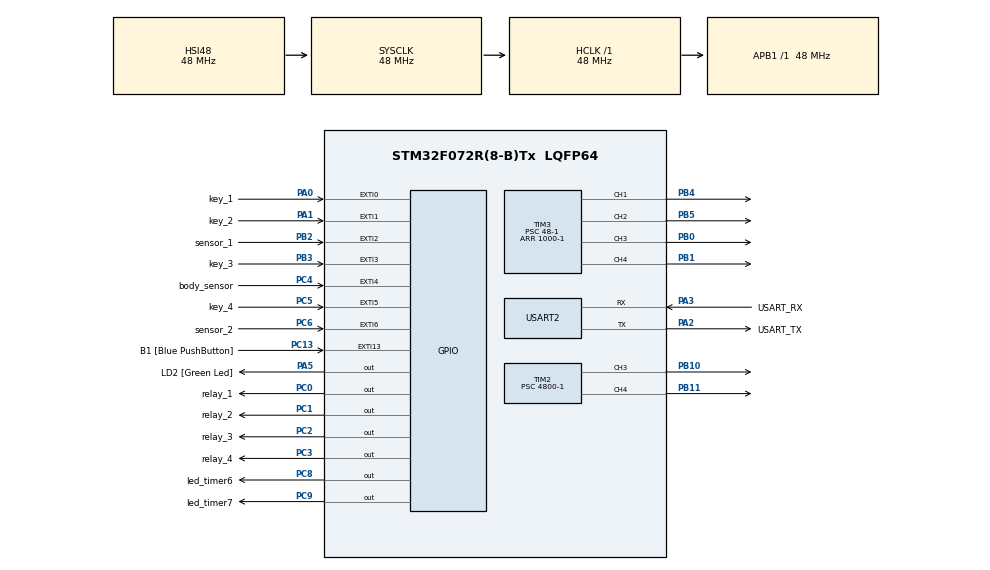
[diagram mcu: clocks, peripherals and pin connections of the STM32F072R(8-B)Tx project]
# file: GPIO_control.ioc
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Mcu.Family=STM32F0
Mcu.Name=STM32F072R(8-B)Tx
Mcu.Package=LQFP64
NVIC.EXTI0_1_IRQn=true\:3\:0\:true\:false\:true\:true\:false\:true
NVIC.EXTI2_3_IRQn=true\:3\:0\:true\:false\:true\:true\:false\:true
NVIC.EXTI4_15_IRQn=true\:3\:0\:true\:false\:true\:true\:false\:true
NVIC.TIM6_DAC_IRQn=true\:1\:0\:true\:false\:true\:true\:false\:true
NVIC.TIM7_IRQn=true\:2\:0\:true\:false\:true\:true\:false\:true
PA0.GPIO_Label=key_1
PA0.Signal=GPXTI0
PA1.GPIO_Label=key_2
PA1.Signal=GPXTI1
PA13.GPIO_Label=TMS
PA13.Mode=Serial_Wire
PA13.Signal=SYS_SWDIO
PA14.GPIO_Label=TCK
PA14.Mode=Serial_Wire
PA14.Signal=SYS_SWCLK
PA2.GPIO_Label=USART_TX
PA2.GPIO_Mode=GPIO_MODE_AF_PP
PA2.GPIO_PuPd=GPIO_NOPULL
PA2.GPIO_Speed=GPIO_SPEED_FREQ_LOW
PA2.Mode=Asynchronous
PA2.Signal=USART2_TX
PA3.GPIO_Label=USART_RX
PA3.GPIO_Mode=GPIO_MODE_AF_PP
PA3.GPIO_PuPd=GPIO_NOPULL
PA3.GPIO_Speed=GPIO_SPEED_FREQ_LOW
PA3.Mode=Asynchronous
PA3.Signal=USART2_RX
PA5.GPIO_Label=LD2 [Green Led]
PA5.GPIO_Mode=GPIO_MODE_OUTPUT_PP
PA5.GPIO_PuPd=GPIO_NOPULL
PA5.GPIO_Speed=GPIO_SPEED_FREQ_LOW
PA5.Signal=GPIO_Output
PB0.Signal=S_TIM3_CH3
PB1.Signal=S_TIM3_CH4
PB10.Signal=S_TIM2_CH3
PB11.Signal=S_TIM2_CH4
PB2.GPIO_Label=sensor_1
PB2.GPIO_ModeDefaultEXTI=GPIO_MODE_IT_FALLING
PB2.Signal=GPXTI2
PB3.GPIO_Label=key_3
PB3.Signal=GPXTI3
PB4.Signal=S_TIM3_CH1
PB5.Signal=S_TIM3_CH2
PC0.GPIO_Label=relay_1
PC0.Signal=GPIO_Output
PC1.GPIO_Label=relay_2
PC1.Signal=GPIO_Output
PC13.GPIO_Label=B1 [Blue PushButton]
PC13.GPIO_ModeDefaultEXTI=GPIO_MODE_IT_FALLING
PC13.Signal=GPXTI13
PC14-OSC32_IN.Mode=LSE-External-Oscillator
PC14-OSC32_IN.Signal=RCC_OSC32_IN
PC15-OSC32_OUT.Mode=LSE-External-Oscillator
PC15-OSC32_OUT.Signal=RCC_OSC32_OUT
PC2.GPIO_Label=relay_3
PC2.Signal=GPIO_Output
PC3.GPIO_Label=relay_4
PC3.Signal=GPIO_Output
PC4.GPIO_Label=body_sensor
PC4.GPIO_ModeDefaultEXTI=GPIO_MODE_IT_RISING_FALLING
PC4.Signal=GPXTI4
PC5.GPIO_Label=key_4
PC5.Signal=GPXTI5
PC6.GPIO_Label=sensor_2
PC6.GPIO_ModeDefaultEXTI=GPIO_MODE_IT_FALLING
PC6.Signal=GPXTI6
PC8.GPIO_Label=led_timer6
PC8.Signal=GPIO_Output
PC9.GPIO_Label=led_timer7
PC9.Signal=GPIO_Output
PF0-OSC_IN.Mode=HSE-External-Clock-Source
PF0-OSC_IN.Signal=RCC_OSC_IN
PF1-OSC_OUT.Signal=RCC_OSC_OUT
ProjectManager.HeapSize=0x200
ProjectManager.StackSize=0x400
ProjectManager.TargetToolchain=MDK-ARM V5.32
RCC.AHBFreq_Value=48000000
RCC.APB1Freq_Value=48000000
RCC.APB1TimFreq_Value=48000000
RCC.FLatency-AdvancedSettings=FLASH_LATENCY_1
RCC.HCLKFreq_Value=48000000
RCC.PLLDivider=RCC_PREDIV_DIV2
RCC.PLLMUL=RCC_PLL_MUL12
RCC.PREFETCH_ENABLE-AdvancedSettings=1
RCC.SYSCLKFreq_VALUE=48000000
RCC.SYSCLKSource=RCC_SYSCLKSOURCE_HSI48
SH.S_TIM2_CH3.0=TIM2_CH3,PWM Generation3 CH3
SH.S_TIM2_CH4.0=TIM2_CH4,PWM Generation4 CH4
SH.S_TIM3_CH1.0=TIM3_CH1,PWM Generation1 CH1
SH.S_TIM3_CH2.0=TIM3_CH2,PWM Generation2 CH2
SH.S_TIM3_CH3.0=TIM3_CH3,PWM Generation3 CH3
SH.S_TIM3_CH4.0=TIM3_CH4,PWM Generation4 CH4
TIM2.AutoReloadPreload=TIM_AUTORELOAD_PRELOAD_ENABLE
TIM2.Channel-PWM\ Generation3\ CH3=TIM_CHANNEL_3
TIM2.Channel-PWM\ Generation4\ CH4=TIM_CHANNEL_4
TIM2.Period=400-1
TIM2.Prescaler=4800-1
TIM3.AutoReloadPreload=TIM_AUTORELOAD_PRELOAD_ENABLE
TIM3.Channel-PWM\ Generation1\ CH1=TIM_CHANNEL_1
TIM3.Channel-PWM\ Generation2\ CH2=TIM_CHANNEL_2
TIM3.Channel-PWM\ Generation3\ CH3=TIM_CHANNEL_3
TIM3.Channel-PWM\ Generation4\ CH4=TIM_CHANNEL_4
TIM3.Period=1000-1
TIM3.Prescaler=48-1
TIM6.AutoReloadPreload=TIM_AUTORELOAD_PRELOAD_ENABLE
TIM6.Period=1000-1
TIM6.Prescaler=48-1
TIM7.AutoReloadPreload=TIM_AUTORELOAD_PRELOAD_ENABLE
TIM7.Period=1000-1
TIM7.Prescaler=4800
USART2.VirtualMode=VM_ASYNC
USART2.VirtualMode-Asynchronous=VM_ASYNC
VP_TIM6_VS_ClockSourceINT.Mode=Enable_Timer
VP_TIM7_VS_ClockSourceINT.Mode=Enable_Timer
board=NUCLEO-F072RB

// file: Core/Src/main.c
/* USER CODE BEGIN Header */
/**
  ******************************************************************************
  * @file           : main.c
  * @brief          : Main program body
  ******************************************************************************
  * @attention
  *
  * Copyright (c) 2026 STMicroelectronics.
  * All rights reserved.
  *
  * This software is licensed under terms that can be found in the LICENSE file
  * in the root directory of this software component.
  * If no LICENSE file comes with this software, it is provided AS-IS.
  *
  ******************************************************************************
  */
/* USER CODE END Header */
#include "main.h"

/* USER CODE BEGIN Includes */
#include <stdio.h>
#include "relay_control.h"
#include "timer_control.h"
#include "pwm_control.h"
/* USER CODE END Includes */

TIM_HandleTypeDef htim2;
TIM_HandleTypeDef htim3;
TIM_HandleTypeDef htim6;
TIM_HandleTypeDef htim7;

UART_HandleTypeDef huart2;

void SystemClock_Config(void);
static void MX_GPIO_Init(void);
static void MX_USART2_UART_Init(void);
static void MX_TIM6_Init(void);
static void MX_TIM7_Init(void);
static void MX_TIM3_Init(void);
static void MX_TIM2_Init(void);

int main(void)
{

  /* MCU Configuration--------------------------------------------------------*/

  /* Reset of all peripherals, Initializes the Flash interface and the Systick. */
  HAL_Init();

  /* Configure the system clock */
  SystemClock_Config();

  /* Initialize all configured peripherals */
  MX_GPIO_Init();
  MX_USART2_UART_Init();
  MX_TIM6_Init();
  MX_TIM7_Init();
  MX_TIM3_Init();
  MX_TIM2_Init();
  /* USER CODE BEGIN 2 */
	printf("GPIO control.\n\r");
	relay1_off();
	relay2_off();
	relay3_off();
	relay4_off();

	enablePWM_ch3_servo();
	for(int i=5; i<25; i++){
		pwmLevel_ch3_servo(i);
		HAL_Delay(100);
	}
	pwmLevel_ch3_servo(5);
	HAL_Delay(1000);
	disablePWM_ch3_servo();

	enablePWM_ch4_servo();
	for(int i=5; i<25; i++){
		pwmLevel_ch4_servo(i);
		HAL_Delay(100);
	}
	pwmLevel_ch4_servo(5);
	HAL_Delay(1000);
	disablePWM_ch4_servo();

//	pwmLevel_ch1(100);
//	pwmLevel_ch2(500);
//	pwmLevel_ch3(700);
//	pwmLevel_ch4(800);
//	enablePWM_ch1();
//	enablePWM_ch2();
//	enablePWM_ch3();
//	enablePWM_ch4();

//	for (int i=0; i<3; i++){
//		GPIOC->ODR |= 0x1ul<<8;
//		Delay_timer6(1000);
//		GPIOC->ODR &= ~(0x1ul<<8);
//		Delay_timer6(1000);
//
//		GPIOC->ODR |= 0x1ul<<9;
//		Delay_timer7(10);
//		GPIOC->ODR &= ~(0x1ul<<9);
//		Delay_timer7(10);
//	}

//	relay1_on();
//	HAL_Delay(2000);
//	relay2_on();
//	HAL_Delay(2000);
//	relay3_on();
//	HAL_Delay(2000);
//	relay4_on();
//	HAL_Delay(2000);
//
//	relay1_off();
//	HAL_Delay(2000);
//	relay2_off();
//	HAL_Delay(2000);
//	relay3_off();
//	HAL_Delay(2000);
//	relay4_off();
//	HAL_Delay(2000);

  /* USER CODE END 2 */

  /* Infinite loop */
  while (1)
  {

  }
}

void SystemClock_Config(void)
{
  RCC_OscInitTypeDef RCC_OscInitStruct = {0};
  RCC_ClkInitTypeDef RCC_ClkInitStruct = {0};
  RCC_PeriphCLKInitTypeDef PeriphClkInit = {0};

  /** Initializes the RCC Oscillators according to the specified parameters
  * in the RCC_OscInitTypeDef structure.
  */
  RCC_OscInitStruct.OscillatorType = RCC_OSCILLATORTYPE_HSI48;
  RCC_OscInitStruct.HSI48State = RCC_HSI48_ON;
  RCC_OscInitStruct.PLL.PLLState = RCC_PLL_NONE;
  if (HAL_RCC_OscConfig(&RCC_OscInitStruct) != HAL_OK)
  {
    Error_Handler();
  }

  /** Initializes the CPU, AHB and APB buses clocks
  */
  RCC_ClkInitStruct.ClockType = RCC_CLOCKTYPE_HCLK|RCC_CLOCKTYPE_SYSCLK
                              |RCC_CLOCKTYPE_PCLK1;
  RCC_ClkInitStruct.SYSCLKSource = RCC_SYSCLKSOURCE_HSI48;
  RCC_ClkInitStruct.AHBCLKDivider = RCC_SYSCLK_DIV1;
  RCC_ClkInitStruct.APB1CLKDivider = RCC_HCLK_DIV1;

  if (HAL_RCC_ClockConfig(&RCC_ClkInitStruct, FLASH_LATENCY_1) != HAL_OK)
  {
    Error_Handler();
  }
  PeriphClkInit.PeriphClockSelection = RCC_PERIPHCLK_USART2;
  PeriphClkInit.Usart2ClockSelection = RCC_USART2CLKSOURCE_PCLK1;
  if (HAL_RCCEx_PeriphCLKConfig(&PeriphClkInit) != HAL_OK)
  {
    Error_Handler();
  }
}

static void MX_TIM2_Init(void)
{

  TIM_MasterConfigTypeDef sMasterConfig = {0};
  TIM_OC_InitTypeDef sConfigOC = {0};

  htim2.Instance = TIM2;
  htim2.Init.Prescaler = 4800-1;
  htim2.Init.CounterMode = TIM_COUNTERMODE_UP;
  htim2.Init.Period = 400-1;
  htim2.Init.ClockDivision = TIM_CLOCKDIVISION_DIV1;
  htim2.Init.AutoReloadPreload = TIM_AUTORELOAD_PRELOAD_ENABLE;
  if (HAL_TIM_PWM_Init(&htim2) != HAL_OK)
  {
    Error_Handler();
  }
  sMasterConfig.MasterOutputTrigger = TIM_TRGO_RESET;
  sMasterConfig.MasterSlaveMode = TIM_MASTERSLAVEMODE_DISABLE;
  if (HAL_TIMEx_MasterConfigSynchronization(&htim2, &sMasterConfig) != HAL_OK)
  {
    Error_Handler();
  }
  sConfigOC.OCMode = TIM_OCMODE_PWM1;
  sConfigOC.Pulse = 0;
  sConfigOC.OCPolarity = TIM_OCPOLARITY_HIGH;
  sConfigOC.OCFastMode = TIM_OCFAST_DISABLE;
  if (HAL_TIM_PWM_ConfigChannel(&htim2, &sConfigOC, TIM_CHANNEL_3) != HAL_OK)
  {
    Error_Handler();
  }
  if (HAL_TIM_PWM_ConfigChannel(&htim2, &sConfigOC, TIM_CHANNEL_4) != HAL_OK)
  {
    Error_Handler();
  }
  HAL_TIM_MspPostInit(&htim2);

}

static void MX_TIM3_Init(void)
{

  TIM_MasterConfigTypeDef sMasterConfig = {0};
  TIM_OC_InitTypeDef sConfigOC = {0};

  htim3.Instance = TIM3;
  htim3.Init.Prescaler = 48-1;
  htim3.Init.CounterMode = TIM_COUNTERMODE_UP;
  htim3.Init.Period = 1000-1;
  htim3.Init.ClockDivision = TIM_CLOCKDIVISION_DIV1;
  htim3.Init.AutoReloadPreload = TIM_AUTORELOAD_PRELOAD_ENABLE;
  if (HAL_TIM_PWM_Init(&htim3) != HAL_OK)
  {
    Error_Handler();
  }
  sMasterConfig.MasterOutputTrigger = TIM_TRGO_RESET;
  sMasterConfig.MasterSlaveMode = TIM_MASTERSLAVEMODE_DISABLE;
  if (HAL_TIMEx_MasterConfigSynchronization(&htim3, &sMasterConfig) != HAL_OK)
  {
    Error_Handler();
  }
  sConfigOC.OCMode = TIM_OCMODE_PWM1;
  sConfigOC.Pulse = 0;
  sConfigOC.OCPolarity = TIM_OCPOLARITY_HIGH;
  sConfigOC.OCFastMode = TIM_OCFAST_DISABLE;
  if (HAL_TIM_PWM_ConfigChannel(&htim3, &sConfigOC, TIM_CHANNEL_1) != HAL_OK)
  {
    Error_Handler();
  }
  if (HAL_TIM_PWM_ConfigChannel(&htim3, &sConfigOC, TIM_CHANNEL_2) != HAL_OK)
  {
    Error_Handler();
  }
  if (HAL_TIM_PWM_ConfigChannel(&htim3, &sConfigOC, TIM_CHANNEL_3) != HAL_OK)
  {
    Error_Handler();
  }
  if (HAL_TIM_PWM_ConfigChannel(&htim3, &sConfigOC, TIM_CHANNEL_4) != HAL_OK)
  {
    Error_Handler();
  }
  HAL_TIM_MspPostInit(&htim3);

}

static void MX_TIM6_Init(void)
{

  TIM_MasterConfigTypeDef sMasterConfig = {0};

  htim6.Instance = TIM6;
  htim6.Init.Prescaler = 48-1;
  htim6.Init.CounterMode = TIM_COUNTERMODE_UP;
  htim6.Init.Period = 1000-1;
  htim6.Init.AutoReloadPreload = TIM_AUTORELOAD_PRELOAD_ENABLE;
  if (HAL_TIM_Base_Init(&htim6) != HAL_OK)
  {
    Error_Handler();
  }
  sMasterConfig.MasterOutputTrigger = TIM_TRGO_RESET;
  sMasterConfig.MasterSlaveMode = TIM_MASTERSLAVEMODE_DISABLE;
  if (HAL_TIMEx_MasterConfigSynchronization(&htim6, &sMasterConfig) != HAL_OK)
  {
    Error_Handler();
  }
  /* USER CODE BEGIN TIM6_Init 2 */
	TIM6->CR1 |= 0x1ul;
	TIM6->DIER |= 0x1ul;
  /* USER CODE END TIM6_Init 2 */

}

static void MX_TIM7_Init(void)
{

  TIM_MasterConfigTypeDef sMasterConfig = {0};

  htim7.Instance = TIM7;
  htim7.Init.Prescaler = 4800;
  htim7.Init.CounterMode = TIM_COUNTERMODE_UP;
  htim7.Init.Period = 1000-1;
  htim7.Init.AutoReloadPreload = TIM_AUTORELOAD_PRELOAD_ENABLE;
  if (HAL_TIM_Base_Init(&htim7) != HAL_OK)
  {
    Error_Handler();
  }
  sMasterConfig.MasterOutputTrigger = TIM_TRGO_RESET;
  sMasterConfig.MasterSlaveMode = TIM_MASTERSLAVEMODE_DISABLE;
  if (HAL_TIMEx_MasterConfigSynchronization(&htim7, &sMasterConfig) != HAL_OK)
  {
    Error_Handler();
  }
  /* USER CODE BEGIN TIM7_Init 2 */
	TIM7->CR1 |= 0x1ul;
	TIM7->DIER |= 0x1ul;
  /* USER CODE END TIM7_Init 2 */

}

static void MX_USART2_UART_Init(void)
{

  huart2.Instance = USART2;
  huart2.Init.BaudRate = 38400;
  huart2.Init.WordLength = UART_WORDLENGTH_8B;
  huart2.Init.StopBits = UART_STOPBITS_1;
  huart2.Init.Parity = UART_PARITY_NONE;
  huart2.Init.Mode = UART_MODE_TX_RX;
  huart2.Init.HwFlowCtl = UART_HWCONTROL_NONE;
  huart2.Init.OverSampling = UART_OVERSAMPLING_16;
  huart2.Init.OneBitSampling = UART_ONE_BIT_SAMPLE_DISABLE;
  huart2.AdvancedInit.AdvFeatureInit = UART_ADVFEATURE_NO_INIT;
  if (HAL_UART_Init(&huart2) != HAL_OK)
  {
    Error_Handler();
  }

}

static void MX_GPIO_Init(void)
{
  GPIO_InitTypeDef GPIO_InitStruct = {0};

  /* GPIO Ports Clock Enable */
  __HAL_RCC_GPIOC_CLK_ENABLE();
  __HAL_RCC_GPIOF_CLK_ENABLE();
  __HAL_RCC_GPIOA_CLK_ENABLE();
  __HAL_RCC_GPIOB_CLK_ENABLE();

  /*Configure GPIO pin Output Level */
  HAL_GPIO_WritePin(GPIOC, relay_1_Pin|relay_2_Pin|relay_3_Pin|relay_4_Pin
                          |led_timer6_Pin|led_timer7_Pin, GPIO_PIN_RESET);

  /*Configure GPIO pin Output Level */
  HAL_GPIO_WritePin(LD2_GPIO_Port, LD2_Pin, GPIO_PIN_RESET);

  /*Configure GPIO pins : B1_Pin sensor_2_Pin */
  GPIO_InitStruct.Pin = B1_Pin|sensor_2_Pin;
  GPIO_InitStruct.Mode = GPIO_MODE_IT_FALLING;
  GPIO_InitStruct.Pull = GPIO_NOPULL;
  HAL_GPIO_Init(GPIOC, &GPIO_InitStruct);

  /*Configure GPIO pins : relay_1_Pin relay_2_Pin relay_3_Pin relay_4_Pin
                           led_timer6_Pin led_timer7_Pin */
  GPIO_InitStruct.Pin = relay_1_Pin|relay_2_Pin|relay_3_Pin|relay_4_Pin
                          |led_timer6_Pin|led_timer7_Pin;
  GPIO_InitStruct.Mode = GPIO_MODE_OUTPUT_PP;
  GPIO_InitStruct.Pull = GPIO_NOPULL;
  GPIO_InitStruct.Speed = GPIO_SPEED_FREQ_LOW;
  HAL_GPIO_Init(GPIOC, &GPIO_InitStruct);

  /*Configure GPIO pins : key_1_Pin key_2_Pin */
  GPIO_InitStruct.Pin = key_1_Pin|key_2_Pin;
  GPIO_InitStruct.Mode = GPIO_MODE_IT_RISING;
  GPIO_InitStruct.Pull = GPIO_NOPULL;
  HAL_GPIO_Init(GPIOA, &GPIO_InitStruct);

  /*Configure GPIO pin : LD2_Pin */
  GPIO_InitStruct.Pin = LD2_Pin;
  GPIO_InitStruct.Mode = GPIO_MODE_OUTPUT_PP;
  GPIO_InitStruct.Pull = GPIO_NOPULL;
  GPIO_InitStruct.Speed = GPIO_SPEED_FREQ_LOW;
  HAL_GPIO_Init(LD2_GPIO_Port, &GPIO_InitStruct);

  /*Configure GPIO pin : body_sensor_Pin */
  GPIO_InitStruct.Pin = body_sensor_Pin;
  GPIO_InitStruct.Mode = GPIO_MODE_IT_RISING_FALLING;
  GPIO_InitStruct.Pull = GPIO_NOPULL;
  HAL_GPIO_Init(body_sensor_GPIO_Port, &GPIO_InitStruct);

  /*Configure GPIO pin : key_4_Pin */
  GPIO_InitStruct.Pin = key_4_Pin;
  GPIO_InitStruct.Mode = GPIO_MODE_IT_RISING;
  GPIO_InitStruct.Pull = GPIO_NOPULL;
  HAL_GPIO_Init(key_4_GPIO_Port, &GPIO_InitStruct);

  /*Configure GPIO pin : sensor_1_Pin */
  GPIO_InitStruct.Pin = sensor_1_Pin;
  GPIO_InitStruct.Mode = GPIO_MODE_IT_FALLING;
  GPIO_InitStruct.Pull = GPIO_NOPULL;
  HAL_GPIO_Init(sensor_1_GPIO_Port, &GPIO_InitStruct);

  /*Configure GPIO pin : key_3_Pin */
  GPIO_InitStruct.Pin = key_3_Pin;
  GPIO_InitStruct.Mode = GPIO_MODE_IT_RISING;
  GPIO_InitStruct.Pull = GPIO_NOPULL;
  HAL_GPIO_Init(key_3_GPIO_Port, &GPIO_InitStruct);

  /* EXTI interrupt init*/
  HAL_NVIC_SetPriority(EXTI0_1_IRQn, 3, 0);
  HAL_NVIC_EnableIRQ(EXTI0_1_IRQn);

  HAL_NVIC_SetPriority(EXTI2_3_IRQn, 3, 0);
  HAL_NVIC_EnableIRQ(EXTI2_3_IRQn);

  HAL_NVIC_SetPriority(EXTI4_15_IRQn, 3, 0);
  HAL_NVIC_EnableIRQ(EXTI4_15_IRQn);

}

void Error_Handler(void)
{
  __disable_irq();
  while (1)
  {
  }
}
